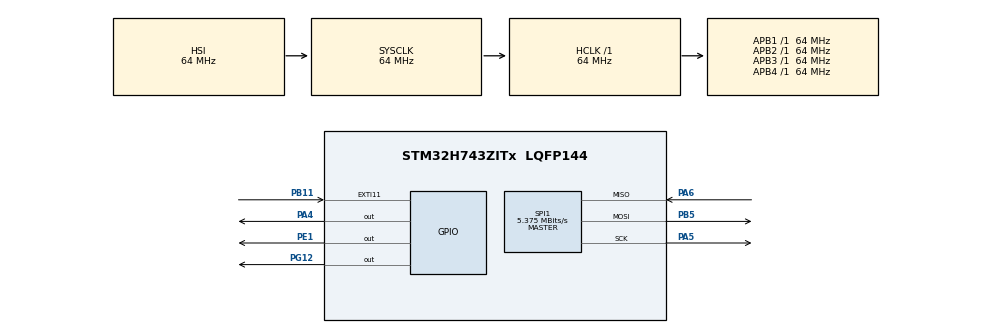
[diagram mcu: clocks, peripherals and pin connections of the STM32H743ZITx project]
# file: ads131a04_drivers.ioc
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CORTEX_M7.default_mode_Activation=1
Mcu.Family=STM32H7
Mcu.Name=STM32H743ZITx
Mcu.Package=LQFP144
NVIC.EXTI15_10_IRQn=true\:0\:0\:false\:false\:true\:true\:true\:true
NVIC.PriorityGroup=NVIC_PRIORITYGROUP_4
PA4.Signal=GPIO_Output
PA5.Mode=Full_Duplex_Master
PA5.Signal=SPI1_SCK
PA6.Mode=Full_Duplex_Master
PA6.Signal=SPI1_MISO
PB11.GPIO_ModeDefaultEXTI=GPIO_MODE_IT_FALLING
PB11.GPIO_PuPd=GPIO_NOPULL
PB11.Signal=GPXTI11
PB5.Mode=Full_Duplex_Master
PB5.Signal=SPI1_MOSI
PE1.GPIO_Speed=GPIO_SPEED_FREQ_HIGH
PE1.PinState=GPIO_PIN_RESET
PE1.Signal=GPIO_Output
PG12.Signal=GPIO_Output
ProjectManager.HeapSize=0x200
ProjectManager.StackSize=0x400
ProjectManager.TargetToolchain=STM32CubeIDE
RCC.ADCFreq_Value=129000000
RCC.APB1Freq_Value=64000000
RCC.APB2Freq_Value=64000000
RCC.APB3Freq_Value=64000000
RCC.APB4Freq_Value=64000000
RCC.CortexFreq_Value=64000000
RCC.DIVQ1=6
RCC.HCLKFreq_Value=64000000
RCC.SYSCLKFreq_VALUE=64000000
RCC.USBFreq_Value=43000000
SPI1.BaudRatePrescaler=SPI_BAUDRATEPRESCALER_8
SPI1.CLKPhase=SPI_PHASE_2EDGE
SPI1.CalculateBaudRate=5.375 MBits/s
SPI1.DataSize=SPI_DATASIZE_8BIT
SPI1.Direction=SPI_DIRECTION_2LINES
SPI1.Mode=SPI_MODE_MASTER
SPI1.VirtualType=VM_MASTER
board=custom

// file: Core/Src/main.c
/* USER CODE BEGIN Header */
/**
  ******************************************************************************
  * @file           : main.c
  * @brief          : Main program body
  ******************************************************************************
  * @attention
  *
  * Copyright (c) 2025 STMicroelectronics.
  * All rights reserved.
  *
  * This software is licensed under terms that can be found in the LICENSE file
  * in the root directory of this software component.
  * If no LICENSE file comes with this software, it is provided AS-IS.
  *
  ******************************************************************************
  */
/* USER CODE END Header */
#include "main.h"
#include "spi.h"
#include "gpio.h"

/* USER CODE BEGIN Includes */
#include "ADS131A0x.h"
/* USER CODE END Includes */

/* USER CODE BEGIN PV */
    uint8_t dataTx[6 * 4];  // 20 elements
    uint8_t dataRx[6 * 4];  // 20 elements
/* USER CODE END PV */

void SystemClock_Config(void);
static void MPU_Config(void);

int main(void)
{

  /* MPU Configuration--------------------------------------------------------*/
  MPU_Config();

  /* MCU Configuration--------------------------------------------------------*/

  /* Reset of all peripherals, Initializes the Flash interface and the Systick. */
  HAL_Init();

  /* Configure the system clock */
  SystemClock_Config();

  /* Initialize all configured peripherals */
  MX_GPIO_Init();
  MX_SPI1_Init();
  /* USER CODE BEGIN 2 */
  StartExtADC();
  /* USER CODE END 2 */

  /* Infinite loop */
  while (1)
  {

    /* USER CODE BEGIN 3 */
	  /*
	  if(HAL_GPIO_ReadPin(GPIOB,GPIO_PIN_11) == GPIO_PIN_RESET)
	  {
		  HAL_GPIO_WritePin(GPIOE, GPIO_PIN_1, GPIO_PIN_SET); Sensor_Transmit_Receive(24, 1);
	  }
	  else{
		  HAL_GPIO_WritePin(GPIOE, GPIO_PIN_1, GPIO_PIN_RESET);
	  }*/
	  //RUN_ADC();

  }
  /* USER CODE END 3 */
}

void SystemClock_Config(void)
{
  RCC_OscInitTypeDef RCC_OscInitStruct = {0};
  RCC_ClkInitTypeDef RCC_ClkInitStruct = {0};

  /** Supply configuration update enable
  */
  HAL_PWREx_ConfigSupply(PWR_LDO_SUPPLY);

  /** Configure the main internal regulator output voltage
  */
  __HAL_PWR_VOLTAGESCALING_CONFIG(PWR_REGULATOR_VOLTAGE_SCALE3);

  while(!__HAL_PWR_GET_FLAG(PWR_FLAG_VOSRDY)) {}

  /** Initializes the RCC Oscillators according to the specified parameters
  * in the RCC_OscInitTypeDef structure.
  */
  RCC_OscInitStruct.OscillatorType = RCC_OSCILLATORTYPE_HSI;
  RCC_OscInitStruct.HSIState = RCC_HSI_DIV1;
  RCC_OscInitStruct.HSICalibrationValue = RCC_HSICALIBRATION_DEFAULT;
  RCC_OscInitStruct.PLL.PLLState = RCC_PLL_ON;
  RCC_OscInitStruct.PLL.PLLSource = RCC_PLLSOURCE_HSI;
  RCC_OscInitStruct.PLL.PLLM = 32;
  RCC_OscInitStruct.PLL.PLLN = 129;
  RCC_OscInitStruct.PLL.PLLP = 2;
  RCC_OscInitStruct.PLL.PLLQ = 6;
  RCC_OscInitStruct.PLL.PLLR = 2;
  RCC_OscInitStruct.PLL.PLLRGE = RCC_PLL1VCIRANGE_1;
  RCC_OscInitStruct.PLL.PLLVCOSEL = RCC_PLL1VCOWIDE;
  RCC_OscInitStruct.PLL.PLLFRACN = 0;
  if (HAL_RCC_OscConfig(&RCC_OscInitStruct) != HAL_OK)
  {
    Error_Handler();
  }

  /** Initializes the CPU, AHB and APB buses clocks
  */
  RCC_ClkInitStruct.ClockType = RCC_CLOCKTYPE_HCLK|RCC_CLOCKTYPE_SYSCLK
                              |RCC_CLOCKTYPE_PCLK1|RCC_CLOCKTYPE_PCLK2
                              |RCC_CLOCKTYPE_D3PCLK1|RCC_CLOCKTYPE_D1PCLK1;
  RCC_ClkInitStruct.SYSCLKSource = RCC_SYSCLKSOURCE_HSI;
  RCC_ClkInitStruct.SYSCLKDivider = RCC_SYSCLK_DIV1;
  RCC_ClkInitStruct.AHBCLKDivider = RCC_HCLK_DIV1;
  RCC_ClkInitStruct.APB3CLKDivider = RCC_APB3_DIV1;
  RCC_ClkInitStruct.APB1CLKDivider = RCC_APB1_DIV1;
  RCC_ClkInitStruct.APB2CLKDivider = RCC_APB2_DIV1;
  RCC_ClkInitStruct.APB4CLKDivider = RCC_APB4_DIV1;

  if (HAL_RCC_ClockConfig(&RCC_ClkInitStruct, FLASH_LATENCY_1) != HAL_OK)
  {
    Error_Handler();
  }
}

/* USER CODE BEGIN 4 */
void Sensor_Transmit_Receive(uint16_t size,
                                    uint8_t useDMA) {
    switch (useDMA) {
        case 1:  // Read via SPI DMA

            break;

        default:  // Read via SPI
#if SPI_ACTIVE_LOW == 1
            HAL_GPIO_WritePin(ADS131A0x_CS_GPIO_Port, ADS131A0x_CS_Pin, GPIO_PIN_RESET);
#else
            HAL_GPIO_WritePin(ADS131A0x_CS_GPIO_Port, ADS131A0x_CS_Pin, GPIO_PIN_SET);
#endif
            HAL_SPI_TransmitReceive(&hspi1, dataTx, dataRx, size, HAL_MAX_DELAY);

#if SPI_ACTIVE_LOW == 1
            HAL_GPIO_WritePin(ADS131A0x_CS_GPIO_Port, ADS131A0x_CS_Pin, GPIO_PIN_SET);
#else
            HAL_GPIO_WritePin(ADS131A0x_CS_GPIO_Port, ADS131A0x_CS_Pin, GPIO_PIN_RESET);
#endif
            break;
    }
}
/*
void HAL_GPIO_EXTI_Callback(uint16_t GPIO_Pin){

	if(GPIO_Pin == GPIO_PIN_11) // If The INT Source Is EXTI Line9 (A9 Pin)
	{
	    HAL_GPIO_TogglePin(GPIOE, GPIO_PIN_1); // Toggle The Output (LED) Pin
	}
}*/
/* USER CODE END 4 */

 /* MPU Configuration */

void MPU_Config(void)
{
  MPU_Region_InitTypeDef MPU_InitStruct = {0};

  /* Disables the MPU */
  HAL_MPU_Disable();

  /** Initializes and configures the Region and the memory to be protected
  */
  MPU_InitStruct.Enable = MPU_REGION_ENABLE;
  MPU_InitStruct.Number = MPU_REGION_NUMBER0;
  MPU_InitStruct.BaseAddress = 0x0;
  MPU_InitStruct.Size = MPU_REGION_SIZE_4GB;
  MPU_InitStruct.SubRegionDisable = 0x87;
  MPU_InitStruct.TypeExtField = MPU_TEX_LEVEL0;
  MPU_InitStruct.AccessPermission = MPU_REGION_NO_ACCESS;
  MPU_InitStruct.DisableExec = MPU_INSTRUCTION_ACCESS_DISABLE;
  MPU_InitStruct.IsShareable = MPU_ACCESS_SHAREABLE;
  MPU_InitStruct.IsCacheable = MPU_ACCESS_NOT_CACHEABLE;
  MPU_InitStruct.IsBufferable = MPU_ACCESS_NOT_BUFFERABLE;

  HAL_MPU_ConfigRegion(&MPU_InitStruct);
  /* Enables the MPU */
  HAL_MPU_Enable(MPU_PRIVILEGED_DEFAULT);

}

void Error_Handler(void)
{
  __disable_irq();
  while (1)
  {
  }
}
